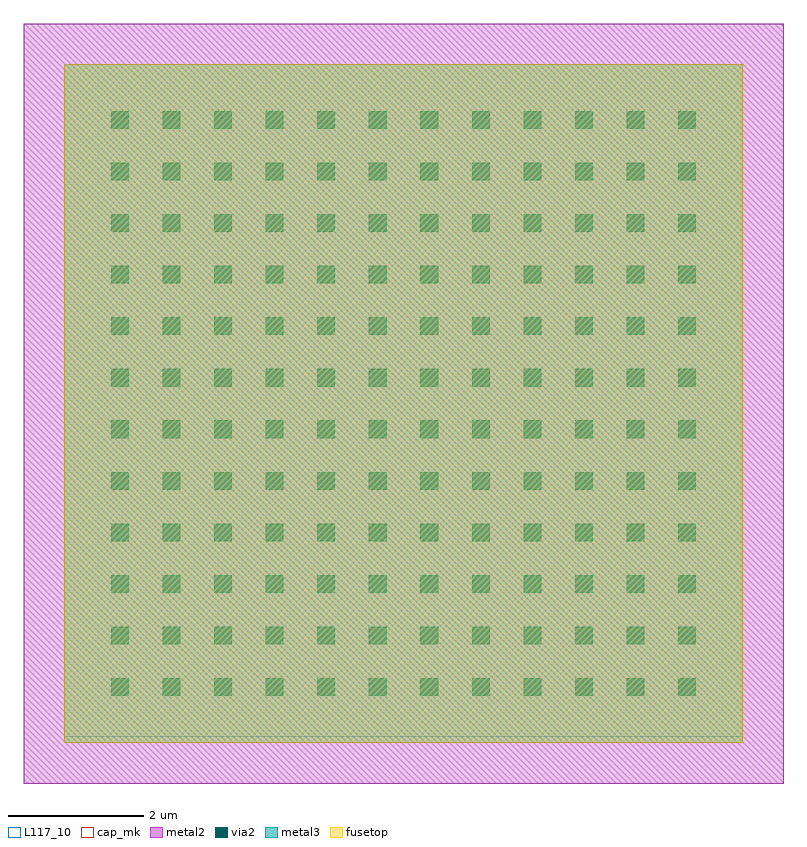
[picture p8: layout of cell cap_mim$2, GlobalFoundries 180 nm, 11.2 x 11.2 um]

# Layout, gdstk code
import gdstk
lib = gdstk.Library(unit=1e-6, precision=1e-09)
def R(c, l, rs):  # rectangles x0, y0, x1, y1
    for r in rs: c.add(gdstk.rectangle(r[:2], r[2:], *l))
def A(c, l, x, y, w, h, nx, ny, dx, dy):  # array of equal rectangles
    R(c, l, [(x+i*dx, y+j*dy, x+i*dx+w, y+j*dy+h) for i in range(nx) for j in range(ny)])
metal2 = (36, 0)
via2 = (38, 0)
metal3 = (42, 0)
fusetop = (75, 0)
cap_mk = (117, 5)
L117_10 = (117, 10)

cap_mim_2 = lib.new_cell('cap_mim$2')
R(cap_mim_2, metal2, [(-0.6,-0.6,10.6,10.6)])
A(cap_mim_2, via2, 0.69, 0.69, 0.26, 0.26, 12, 12, 0.76, 0.76)
R(cap_mim_2, metal3, [(0,0,10,10)])
R(cap_mim_2, fusetop, [(0,0,10,10)])
R(cap_mim_2, cap_mk, [(-0.6,-0.6,10.6,10.6)])
R(cap_mim_2, L117_10, [(0,0,10,0.1)])

lib.write_gds('cap_mim_2.gds')
